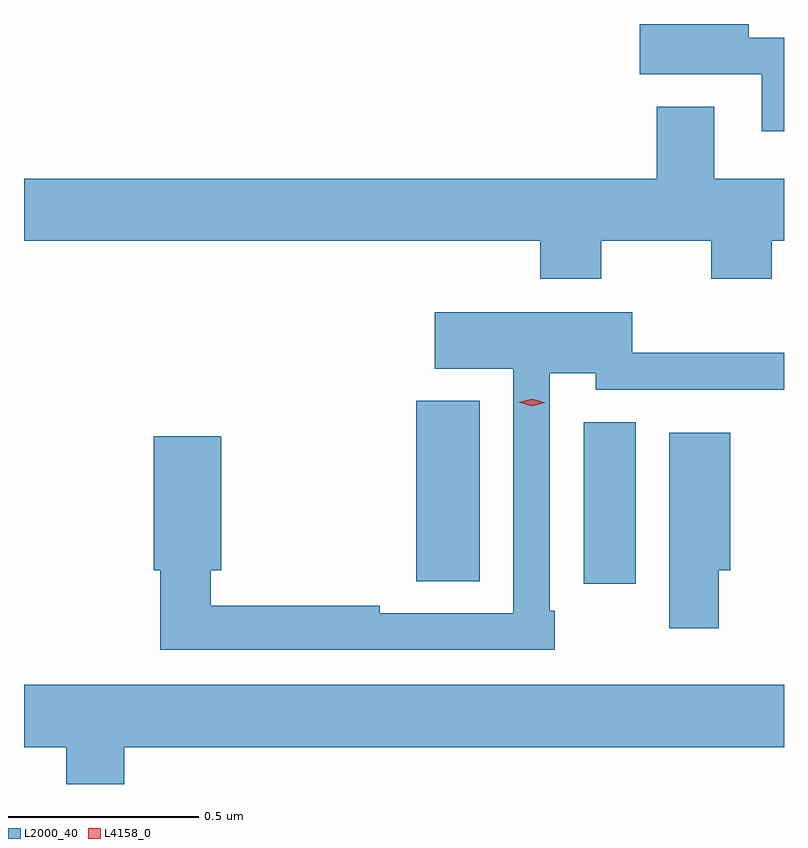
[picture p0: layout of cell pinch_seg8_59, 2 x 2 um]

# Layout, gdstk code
import gdstk
lib = gdstk.Library(unit=1e-6, precision=1e-09)
def R(c, l, rs):  # rectangles x0, y0, x1, y1
    for r in rs: c.add(gdstk.rectangle(r[:2], r[2:], *l))
def P(c, l, *ps):  # polygons
    for p in ps: c.add(gdstk.Polygon(p, *l))
L2000_40 = (2000, 40)
L4158_0 = (4158, 0)

pinch_seg8_59 = lib.new_cell('pinch_seg8_59')
R(pinch_seg8_59, L2000_40, [(890.189,1106.274,890.326,1106.699), (889.748,1106.281,889.915,1106.755)])
P(pinch_seg8_59, L2000_40, [(890.716,1107.711),(890.623,1107.711),(890.623,1107.747),(890.336,1107.747),(890.336,1107.615),(890.657,1107.615),(890.657,1107.465),(890.716,1107.465)],
  [(890.235,1107.176),(890.524,1107.176),(890.524,1107.077),(890.684,1107.077),(890.684,1107.176),(890.716,1107.176),(890.716,1107.34),(890.533,1107.34),(890.533,1107.529),(890.381,1107.529),(890.381,1107.34),(888.716,1107.34),(888.716,1107.176),(890.075,1107.176),(890.075,1107.077),(890.235,1107.077)],
  [(890.113,1106.203),(890.1,1106.203),(890.1,1106.828),(890.22,1106.828),(890.22,1106.784),(890.716,1106.784),(890.716,1106.882),(890.316,1106.882),(890.316,1106.989),(889.797,1106.989),(889.797,1106.84),(890.004,1106.84),(890.004,1106.196),(889.652,1106.196),(889.652,1106.216),(889.207,1106.216),(889.207,1106.309),(889.235,1106.309),(889.235,1106.662),(889.057,1106.662),(889.057,1106.309),(889.075,1106.309),(889.075,1106.1),(890.113,1106.1)],
  [(890.544,1106.309),(890.575,1106.309),(890.575,1106.671),(890.414,1106.671),(890.414,1106.157),(890.544,1106.157)],
  [(888.98,1105.844),(890.716,1105.844),(890.716,1106.008),(888.716,1106.008),(888.716,1105.844),(888.827,1105.844),(888.827,1105.747),(888.98,1105.747)])
P(pinch_seg8_59, L4158_0, [(890.052,1106.741),(890.018,1106.752),(890.018,1106.752),(890.018,1106.752),(890.053,1106.761),(890.088,1106.75),(890.088,1106.75),(890.088,1106.75)])

lib.write_gds('pinch_seg8_59.gds')
